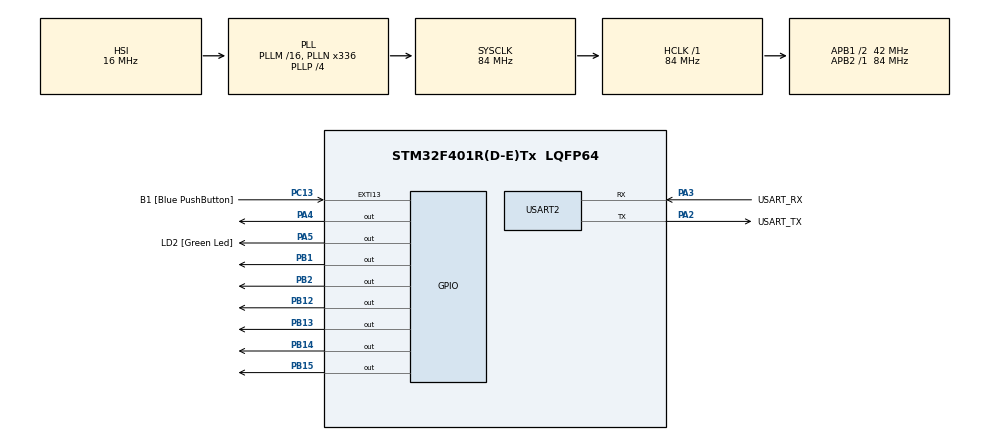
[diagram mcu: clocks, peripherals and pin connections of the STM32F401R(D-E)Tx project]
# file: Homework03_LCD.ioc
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Mcu.Family=STM32F4
Mcu.Name=STM32F401R(D-E)Tx
Mcu.Package=LQFP64
NVIC.PriorityGroup=NVIC_PRIORITYGROUP_0
NVIC.TIM2_IRQn=true\:0\:0\:false\:false\:true\:true\:true\:true
PA13.GPIO_Label=TMS
PA13.Mode=Serial_Wire
PA13.Signal=SYS_JTMS-SWDIO
PA14.GPIO_Label=TCK
PA14.Mode=Serial_Wire
PA14.Signal=SYS_JTCK-SWCLK
PA2.GPIO_Label=USART_TX
PA2.GPIO_Mode=GPIO_MODE_AF_PP
PA2.GPIO_PuPd=GPIO_NOPULL
PA2.GPIO_Speed=GPIO_SPEED_FREQ_LOW
PA2.Mode=Asynchronous
PA2.Signal=USART2_TX
PA3.GPIO_Label=USART_RX
PA3.GPIO_Mode=GPIO_MODE_AF_PP
PA3.GPIO_PuPd=GPIO_NOPULL
PA3.GPIO_Speed=GPIO_SPEED_FREQ_LOW
PA3.Mode=Asynchronous
PA3.Signal=USART2_RX
PA4.Signal=GPIO_Output
PA5.GPIO_Label=LD2 [Green Led]
PA5.GPIO_Mode=GPIO_MODE_OUTPUT_PP
PA5.GPIO_PuPd=GPIO_NOPULL
PA5.GPIO_Speed=GPIO_SPEED_FREQ_LOW
PA5.Signal=GPIO_Output
PB1.Signal=GPIO_Output
PB12.Signal=GPIO_Output
PB13.Signal=GPIO_Output
PB14.Signal=GPIO_Output
PB15.Signal=GPIO_Output
PB2.Signal=GPIO_Output
PB3.GPIO_Label=SWO
PB3.Signal=SYS_JTDO-SWO
PC13-ANTI_TAMP.GPIO_Label=B1 [Blue PushButton]
PC13-ANTI_TAMP.GPIO_ModeDefaultEXTI=GPIO_MODE_IT_FALLING
PC13-ANTI_TAMP.GPIO_PuPd=GPIO_NOPULL
PC13-ANTI_TAMP.Signal=GPXTI13
PC14-OSC32_IN.Mode=LSE-External-Oscillator
PC14-OSC32_IN.Signal=RCC_OSC32_IN
PC15-OSC32_OUT.Mode=LSE-External-Oscillator
PC15-OSC32_OUT.Signal=RCC_OSC32_OUT
PH0\ -\ OSC_IN.Mode=HSE-External-Clock-Source
PH0\ -\ OSC_IN.Signal=RCC_OSC_IN
PH1\ -\ OSC_OUT.Mode=HSE-External-Clock-Source
PH1\ -\ OSC_OUT.Signal=RCC_OSC_OUT
ProjectManager.HeapSize=0x200
ProjectManager.StackSize=0x400
ProjectManager.TargetToolchain=STM32CubeIDE
RCC.48MHZClocksFreq_Value=48000000
RCC.AHBFreq_Value=84000000
RCC.APB1CLKDivider=RCC_HCLK_DIV2
RCC.APB1Freq_Value=42000000
RCC.APB1TimFreq_Value=84000000
RCC.APB2Freq_Value=84000000
RCC.APB2TimFreq_Value=84000000
RCC.CortexFreq_Value=84000000
RCC.HCLKFreq_Value=84000000
RCC.HSE_VALUE=8000000
RCC.HSI_VALUE=16000000
RCC.PLLN=336
RCC.PLLP=RCC_PLLP_DIV4
RCC.PLLQ=7
RCC.SYSCLKFreq_VALUE=84000000
RCC.SYSCLKSource=RCC_SYSCLKSOURCE_PLLCLK
RCC.VCOOutputFreq_Value=336000000
TIM2.Period=9999
TIM2.Prescaler=8399
USART2.VirtualMode=VM_ASYNC
VP_TIM2_VS_ClockSourceINT.Mode=Internal
board=NUCLEO-F401RE

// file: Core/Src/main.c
/* USER CODE BEGIN Header */
/**
  ******************************************************************************
  * @file           : main.c
  * @brief          : Main program body
  ******************************************************************************
  * @attention
  *
  * Copyright (c) 2023 STMicroelectronics.
  * All rights reserved.
  *
  * This software is licensed under terms that can be found in the LICENSE file
  * in the root directory of this software component.
  * If no LICENSE file comes with this software, it is provided AS-IS.
  *
  ******************************************************************************
  */
/* USER CODE END Header */
#include "main.h"

/* USER CODE BEGIN Includes */
#include "PMDB16_LCD.h"
/* USER CODE END Includes */

TIM_HandleTypeDef htim2;

UART_HandleTypeDef huart2;

/* USER CODE BEGIN PV */
char name[][16] = {"Arturo", "Gabriele", "Hui", "Luigi", "Mattia"}; //define the name of every partner in the group
int our_index = 0;
char *last_name_ptr = "";
/* USER CODE END PV */

void SystemClock_Config(void);
static void MX_GPIO_Init(void);
static void MX_USART2_UART_Init(void);
static void MX_TIM2_Init(void);

/* USER CODE BEGIN 0 */
void print_name(void)
{
	lcd_println(last_name_ptr, 0);
	lcd_println(name[our_index], 1);
	last_name_ptr = name[our_index];
	our_index = (our_index + 1) % 5;
}

void HAL_TIM_PeriodElapsedCallback(TIM_HandleTypeDef *htim)
{
	lcd_clear();
	print_name();
}
/* USER CODE END 0 */

int main(void)
{

  /* MCU Configuration--------------------------------------------------------*/

  /* Reset of all peripherals, Initializes the Flash interface and the Systick. */
  HAL_Init();

  /* Configure the system clock */
  SystemClock_Config();

  /* Initialize all configured peripherals */
  MX_GPIO_Init();
  MX_USART2_UART_Init();
  MX_TIM2_Init();
  /* USER CODE BEGIN 2 */
  lcd_initialize();
  lcd_backlight_ON();
  lcd_clear();
  print_name();
  __HAL_TIM_CLEAR_IT(&htim2, TIM_IT_UPDATE);
  if(HAL_TIM_Base_Start_IT(&htim2) != HAL_OK){
  	  Error_Handler();
    }
  /* USER CODE END 2 */

  /* Infinite loop */
  while (1)
  {

  }
}

void SystemClock_Config(void)
{
  RCC_OscInitTypeDef RCC_OscInitStruct = {0};
  RCC_ClkInitTypeDef RCC_ClkInitStruct = {0};

  /** Configure the main internal regulator output voltage
  */
  __HAL_RCC_PWR_CLK_ENABLE();
  __HAL_PWR_VOLTAGESCALING_CONFIG(PWR_REGULATOR_VOLTAGE_SCALE2);

  /** Initializes the RCC Oscillators according to the specified parameters
  * in the RCC_OscInitTypeDef structure.
  */
  RCC_OscInitStruct.OscillatorType = RCC_OSCILLATORTYPE_HSI;
  RCC_OscInitStruct.HSIState = RCC_HSI_ON;
  RCC_OscInitStruct.HSICalibrationValue = RCC_HSICALIBRATION_DEFAULT;
  RCC_OscInitStruct.PLL.PLLState = RCC_PLL_ON;
  RCC_OscInitStruct.PLL.PLLSource = RCC_PLLSOURCE_HSI;
  RCC_OscInitStruct.PLL.PLLM = 16;
  RCC_OscInitStruct.PLL.PLLN = 336;
  RCC_OscInitStruct.PLL.PLLP = RCC_PLLP_DIV4;
  RCC_OscInitStruct.PLL.PLLQ = 7;
  if (HAL_RCC_OscConfig(&RCC_OscInitStruct) != HAL_OK)
  {
    Error_Handler();
  }

  /** Initializes the CPU, AHB and APB buses clocks
  */
  RCC_ClkInitStruct.ClockType = RCC_CLOCKTYPE_HCLK|RCC_CLOCKTYPE_SYSCLK
                              |RCC_CLOCKTYPE_PCLK1|RCC_CLOCKTYPE_PCLK2;
  RCC_ClkInitStruct.SYSCLKSource = RCC_SYSCLKSOURCE_PLLCLK;
  RCC_ClkInitStruct.AHBCLKDivider = RCC_SYSCLK_DIV1;
  RCC_ClkInitStruct.APB1CLKDivider = RCC_HCLK_DIV2;
  RCC_ClkInitStruct.APB2CLKDivider = RCC_HCLK_DIV1;

  if (HAL_RCC_ClockConfig(&RCC_ClkInitStruct, FLASH_LATENCY_2) != HAL_OK)
  {
    Error_Handler();
  }
}

static void MX_TIM2_Init(void)
{

  TIM_ClockConfigTypeDef sClockSourceConfig = {0};
  TIM_MasterConfigTypeDef sMasterConfig = {0};

  htim2.Instance = TIM2;
  htim2.Init.Prescaler = 8399;
  htim2.Init.CounterMode = TIM_COUNTERMODE_UP;
  htim2.Init.Period = 9999;
  htim2.Init.ClockDivision = TIM_CLOCKDIVISION_DIV1;
  htim2.Init.AutoReloadPreload = TIM_AUTORELOAD_PRELOAD_DISABLE;
  if (HAL_TIM_Base_Init(&htim2) != HAL_OK)
  {
    Error_Handler();
  }
  sClockSourceConfig.ClockSource = TIM_CLOCKSOURCE_INTERNAL;
  if (HAL_TIM_ConfigClockSource(&htim2, &sClockSourceConfig) != HAL_OK)
  {
    Error_Handler();
  }
  sMasterConfig.MasterOutputTrigger = TIM_TRGO_RESET;
  sMasterConfig.MasterSlaveMode = TIM_MASTERSLAVEMODE_DISABLE;
  if (HAL_TIMEx_MasterConfigSynchronization(&htim2, &sMasterConfig) != HAL_OK)
  {
    Error_Handler();
  }

}

static void MX_USART2_UART_Init(void)
{

  huart2.Instance = USART2;
  huart2.Init.BaudRate = 115200;
  huart2.Init.WordLength = UART_WORDLENGTH_8B;
  huart2.Init.StopBits = UART_STOPBITS_1;
  huart2.Init.Parity = UART_PARITY_NONE;
  huart2.Init.Mode = UART_MODE_TX_RX;
  huart2.Init.HwFlowCtl = UART_HWCONTROL_NONE;
  huart2.Init.OverSampling = UART_OVERSAMPLING_16;
  if (HAL_UART_Init(&huart2) != HAL_OK)
  {
    Error_Handler();
  }

}

static void MX_GPIO_Init(void)
{
  GPIO_InitTypeDef GPIO_InitStruct = {0};

  /* GPIO Ports Clock Enable */
  __HAL_RCC_GPIOC_CLK_ENABLE();
  __HAL_RCC_GPIOH_CLK_ENABLE();
  __HAL_RCC_GPIOA_CLK_ENABLE();
  __HAL_RCC_GPIOB_CLK_ENABLE();

  /*Configure GPIO pin Output Level */
  HAL_GPIO_WritePin(GPIOA, GPIO_PIN_4|LD2_Pin, GPIO_PIN_RESET);

  /*Configure GPIO pin Output Level */
  HAL_GPIO_WritePin(GPIOB, GPIO_PIN_1|GPIO_PIN_2|GPIO_PIN_12|GPIO_PIN_13
                          |GPIO_PIN_14|GPIO_PIN_15, GPIO_PIN_RESET);

  /*Configure GPIO pin : B1_Pin */
  GPIO_InitStruct.Pin = B1_Pin;
  GPIO_InitStruct.Mode = GPIO_MODE_IT_FALLING;
  GPIO_InitStruct.Pull = GPIO_NOPULL;
  HAL_GPIO_Init(B1_GPIO_Port, &GPIO_InitStruct);

  /*Configure GPIO pins : PA4 LD2_Pin */
  GPIO_InitStruct.Pin = GPIO_PIN_4|LD2_Pin;
  GPIO_InitStruct.Mode = GPIO_MODE_OUTPUT_PP;
  GPIO_InitStruct.Pull = GPIO_NOPULL;
  GPIO_InitStruct.Speed = GPIO_SPEED_FREQ_LOW;
  HAL_GPIO_Init(GPIOA, &GPIO_InitStruct);

  /*Configure GPIO pins : PB1 PB2 PB12 PB13
                           PB14 PB15 */
  GPIO_InitStruct.Pin = GPIO_PIN_1|GPIO_PIN_2|GPIO_PIN_12|GPIO_PIN_13
                          |GPIO_PIN_14|GPIO_PIN_15;
  GPIO_InitStruct.Mode = GPIO_MODE_OUTPUT_PP;
  GPIO_InitStruct.Pull = GPIO_NOPULL;
  GPIO_InitStruct.Speed = GPIO_SPEED_FREQ_LOW;
  HAL_GPIO_Init(GPIOB, &GPIO_InitStruct);

}

void Error_Handler(void)
{
  __disable_irq();
  while (1)
  {
  }
}
